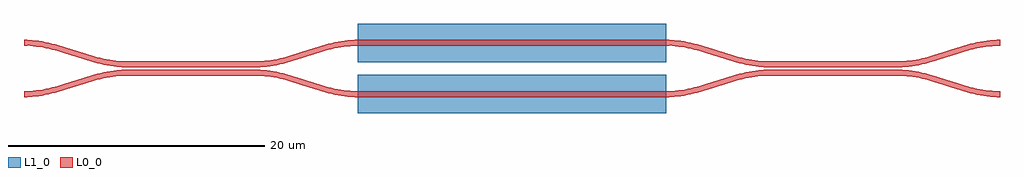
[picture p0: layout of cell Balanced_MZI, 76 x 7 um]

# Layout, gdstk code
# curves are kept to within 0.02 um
import gdstk
lib = gdstk.Library(unit=1e-6, precision=1e-09)
def R(c, l, rs):  # rectangles x0, y0, x1, y1
    for r in rs: c.add(gdstk.rectangle(r[:2], r[2:], *l))
def P(c, l, *ps):  # polygons
    for p in ps: c.add(gdstk.Polygon(p, *l))
L0_0 = (0, 0)
L1_0 = (1, 0)

directional_coupler = lib.new_cell('Directional_Coupler')
P(directional_coupler, L0_0, [(0.129,-2.224),(0.9,-2.175),(1.924,-2.003),(2.939,-1.736),(4.942,-1.095),(5.928,-0.819),(6.906,-0.628),(7.818,-0.552),(18.486,-0.566),(19.216,-0.646),(20.195,-0.849),(23.441,-1.845),(24.716,-2.123),(25.357,-2.199),(26,-2.225),(26,-1.775),(25.15,-1.727),(24.174,-1.563),(23.189,-1.305),(20.432,-0.446),(19.413,-0.222),(18.643,-0.126),(18,-0.1),(7.871,-0.101),(6.972,-0.166),(5.949,-0.351),(4.935,-0.627),(2.687,-1.341),(1.704,-1.59),(0.729,-1.74),(0,-1.775),(0,-2.225)],
  [(0.243,1.771),(0.972,1.713),(1.949,1.536),(2.935,1.268),(5.441,0.48),(6.46,0.245),(7.229,0.137),(8,0.1),(18.129,0.101),(19.156,0.183),(20.178,0.381),(21.192,0.665),(23.189,1.305),(24.174,1.563),(25.15,1.727),(26,1.775),(26,2.225),(25.229,2.188),(24.204,2.03),(23.187,1.773),(20.195,0.849),(19.216,0.646),(18.243,0.554),(8,0.55),(7.393,0.574),(6.663,0.666),(5.682,0.881),(2.686,1.81),(1.413,2.103),(0.643,2.199),(0,2.225),(0,1.775)])

balanced_mzi_route0 = lib.new_cell('Balanced_MZI_route0')
R(balanced_mzi_route0, L0_0, [(26,1.775,50,2.225)])
R(balanced_mzi_route0, L1_0, [(26,0.5,50,3.5)])

balanced_mzi_route1 = lib.new_cell('Balanced_MZI_route1')
R(balanced_mzi_route1, L0_0, [(26,-2.225,50,-1.775)])
R(balanced_mzi_route1, L1_0, [(26,-3.5,50,-0.5)])

balanced_mzi = lib.new_cell('Balanced_MZI')
balanced_mzi.add(gdstk.Reference(directional_coupler, (0,0)))
balanced_mzi.add(gdstk.Reference(directional_coupler, (50,0)))
balanced_mzi.add(gdstk.Reference(balanced_mzi_route0, (0,0)))
balanced_mzi.add(gdstk.Reference(balanced_mzi_route1, (0,0)))

lib.write_gds('Balanced_MZI.gds')
